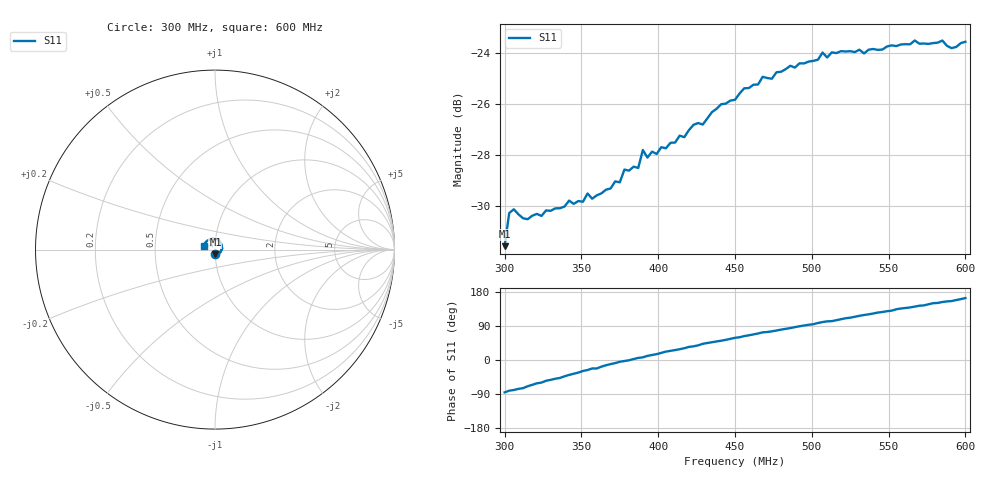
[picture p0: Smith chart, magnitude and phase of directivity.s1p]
! Created with skrf 1.8.0 (http://scikit-rf.org).
# Hz S RI R 50.0
!freq ReS11 ImS11
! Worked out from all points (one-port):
!   101 points, 300 MHz to 600 MHz, reference 50 ohm
!   lowest |S11| = -31.6 dB at 300 MHz (marker M1), VSWR 1.05, Z = 50.1 - j2.63 ohm
!   |S11| at or under -10 dB: start of sweep to end of sweep
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3e8  0.00213 -0.0262
3.03e8  0.00479 -0.0302
3.06e8  0.00582 -0.0306
3.15e8  0.0105 -0.0278
3.39e8  0.023 -0.0215
3.51e8  0.0282 -0.0156
3.54e8  0.0299 -0.0149
3.57e8  0.0302 -0.0124
3.75e8  0.035 -0.00289
3.78e8  0.0372 -0.00177
3.87e8  0.0374 0.00359
3.9e8  0.0404 0.005
3.93e8  0.0386 0.00738
4.14e8  0.0382 0.0207
4.29e8  0.0336 0.031
4.41e8  0.0316 0.0389
4.5e8  0.0267 0.0436
4.68e8  0.0166 0.0543
4.74e8  0.014 0.0545
4.89e8  0.00341 0.0591
5.04e8  -0.00821 0.0608
5.07e8  -0.0111 0.0624
5.1e8  -0.0129 0.0606
5.25e8  -0.0235 0.0593
5.64e8  -0.0494 0.0434
5.85e8  -0.0596 0.0303
5.91e8  -0.0588 0.0268
6e8  -0.0637 0.0191
